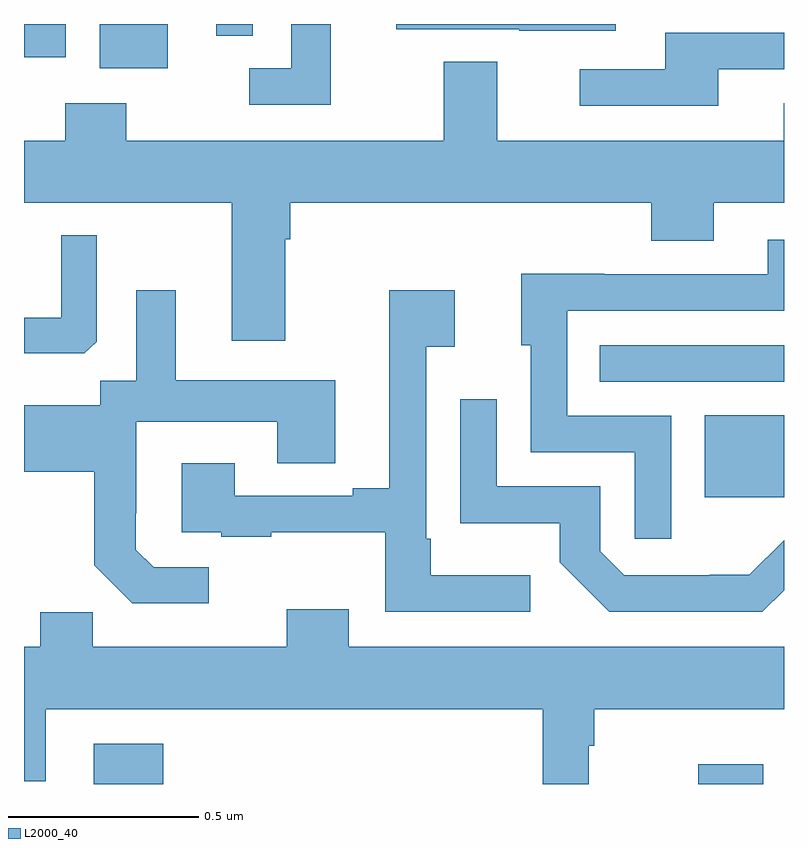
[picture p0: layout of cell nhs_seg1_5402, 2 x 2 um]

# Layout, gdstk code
import gdstk
lib = gdstk.Library(unit=1e-6, precision=1e-09)
def R(c, l, rs):  # rectangles x0, y0, x1, y1
    for r in rs: c.add(gdstk.rectangle(r[:2], r[2:], *l))
def P(c, l, *ps):  # polygons
    for p in ps: c.add(gdstk.Polygon(p, *l))
L2000_40 = (2000, 40)

nhs_seg1_5402 = lib.new_cell('nhs_seg1_5402')
R(nhs_seg1_5402, L2000_40, [(178.184,554.199,178.366,554.305), (179.774,554.199,179.945,554.251), (179.792,554.954,180,555.169), (179.515,555.258,180,555.354), (178.199,556.082,178.378,556.199), (178,556.111,178.11,556.199), (178.506,556.168,178.602,556.199)])
P(nhs_seg1_5402, L2000_40, [(178.807,556.199),(178.703,556.199),(178.703,556.083),(178.593,556.083),(178.593,555.987),(178.807,555.987)],
  [(179.557,556.199),(178.979,556.199),(178.979,556.185),(179.303,556.185),(179.303,556.181),(179.557,556.181)],
  [(179.827,556.08),(180,556.08),(180,556.176),(179.687,556.176),(179.687,556.08),(179.463,556.08),(179.463,555.984),(179.827,555.984)],
  [(178.687,555.632),(178.7,555.632),(178.7,555.728),(179.651,555.728),(179.651,555.629),(179.815,555.629),(179.815,555.728),(180,555.728),(180,555.991),(179.999,555.991),(179.999,555.892),(179.245,555.892),(179.245,556.1),(179.105,556.1),(179.105,555.892),(178.269,555.892),(178.269,555.991),(178.109,555.991),(178.109,555.892),(178,555.892),(178,555.728),(178.547,555.728),(178.547,555.366),(178.687,555.366)],
  [(178.191,555.363),(178.191,555.643),(178.098,555.643),(178.098,555.426),(178,555.426),(178,555.332),(178.159,555.332)],
  [(179.703,555.168),(179.43,555.168),(179.43,555.444),(180,555.444),(180,555.631),(179.957,555.631),(179.957,555.54),(179.527,555.54),(179.527,555.542),(179.309,555.542),(179.309,555.354),(179.334,555.354),(179.334,555.072),(179.607,555.072),(179.607,554.844),(179.703,554.844)],
  [(178.486,554.769),(178.341,554.769),(178.294,554.816),(178.294,554.911),(178.296,554.911),(178.296,555.152),(178.667,555.152),(178.667,555.043),(178.819,555.043),(178.819,555.262),(178.399,555.262),(178.399,555.499),(178.295,555.499),(178.295,555.26),(178.2,555.26),(178.2,555.196),(178,555.196),(178,555.021),(178.185,555.021),(178.185,554.775),(178.285,554.675),(178.486,554.675)],
  [(179.332,554.749),(179.071,554.749),(179.071,554.845),(179.058,554.845),(179.058,555.35),(179.134,555.35),(179.134,555.499),(178.961,555.499),(178.961,554.977),(178.865,554.977),(178.865,554.958),(178.555,554.958),(178.555,555.043),(178.415,555.043),(178.415,554.862),(178.519,554.862),(178.519,554.85),(178.651,554.85),(178.651,554.861),(178.95,554.861),(178.95,554.652),(179.332,554.652)],
  [(180,554.709),(180,554.841),(179.909,554.75),(179.804,554.75),(179.804,554.748),(179.58,554.748),(179.517,554.811),(179.517,554.982),(179.244,554.982),(179.244,555.211),(179.148,555.211),(179.148,554.885),(179.41,554.885),(179.41,554.783),(179.54,554.652),(179.943,554.652)],
  [(179.486,554.3),(179.501,554.3),(179.501,554.396),(180,554.396),(180,554.56),(178.855,554.56),(178.855,554.659),(178.691,554.659),(178.691,554.56),(178.181,554.56),(178.181,554.651),(178.043,554.651),(178.043,554.56),(178,554.56),(178,554.206),(178.057,554.206),(178.057,554.396),(179.365,554.396),(179.365,554.199),(179.486,554.199)])

lib.write_gds('nhs_seg1_5402.gds')
